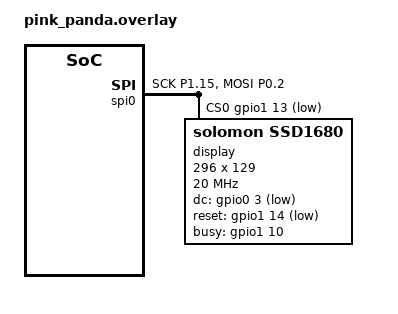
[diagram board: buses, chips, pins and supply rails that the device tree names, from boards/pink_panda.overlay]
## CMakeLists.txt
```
#-------------------------------------------------------------------------------
# Zephyr Example Application
#
# Copyright (c) 2022 François Gervais
# SPDX-License-Identifier: Apache-2.0

# set(OVERLAY_CONFIG "secret.conf")

cmake_minimum_required(VERSION 3.20.0)
list(APPEND BOARD_ROOT ${CMAKE_CURRENT_SOURCE_DIR})
find_package(Zephyr REQUIRED HINTS $ENV{ZEPHYR_BASE})

execute_process(COMMAND git describe
                WORKING_DIRECTORY ${CMAKE_CURRENT_SOURCE_DIR}
                OUTPUT_VARIABLE GIT_DESCRIBE
                ERROR_QUIET)
string(STRIP "${GIT_DESCRIBE}" GIT_DESCRIBE)
STRING(REGEX MATCH "[0-9]+\\.[0-9]+\\.[0-9]+"
       VERSION "${GIT_DESCRIBE}")

project(app LANGUAGES C VERSION ${VERSION})


configure_file(app_version.h.in ${CMAKE_BINARY_DIR}/app/include/app_version.h)
target_include_directories(app PRIVATE ${CMAKE_BINARY_DIR}/app/include src)

target_sources(app PRIVATE
        src/init.c
        src/main.c)

zephyr_include_directories(
 configuration/${BOARD}
 )
```

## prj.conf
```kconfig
CONFIG_APP_SUSPEND_CONSOLE=y
CONFIG_APP_WATCHDOG_TIMEOUT_SEC=300
CONFIG_APP_MAIN_LOOP_PERIOD_SEC=180
CONFIG_LV_Z_BITS_PER_PIXEL=1

CONFIG_SPI=y
CONFIG_SERIAL=y

CONFIG_WATCHDOG=y
CONFIG_HEAP_MEM_POOL_SIZE=2048

CONFIG_PM_DEVICE=y

CONFIG_MAIN_STACK_SIZE=4096
CONFIG_SYSTEM_WORKQUEUE_STACK_SIZE=2048
#CONFIG_LOG_BUFFER_SIZE=16384

CONFIG_CAF=y
CONFIG_CAF_BUTTONS=y
CONFIG_CAF_BUTTONS_POLARITY_INVERSED=y

CONFIG_LV_CONF_MINIMAL=y
CONFIG_LV_COLOR_DEPTH_1=y
CONFIG_LV_USE_LOG=y
CONFIG_LV_USE_ASSERT_NULL=y
CONFIG_LV_USE_ASSERT_MALLOC=y
# CONFIG_LV_FONT_UNSCII_8 is not set
CONFIG_LV_FONT_DEFAULT_MONTSERRAT_48=y
CONFIG_LV_TXT_ENC_UTF8=y
CONFIG_LV_USE_LABEL=y
CONFIG_LV_USE_THEME_MONO=y
CONFIG_LVGL=y

CONFIG_BOARD_ENABLE_DCDC=y

CONFIG_THREAD_NAME=y
CONFIG_EVENTS=y

CONFIG_CONSOLE=y
CONFIG_UART_CONSOLE=y
CONFIG_DISPLAY=y

CONFIG_THREAD_ANALYZER=y
CONFIG_LOG=y
CONFIG_LOG_SPEED=y
```

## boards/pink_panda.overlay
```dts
/ {
	/*
	* In some default configurations within the nRF Connect SDK,
	* e.g. on nRF52840, the chosen zephyr,entropy node is &cryptocell.
	* This devicetree overlay ensures that default is overridden wherever it
	* is set, as this application uses the RNG node for entropy exclusively.
	*/
	chosen {
		zephyr,entropy = &rng;
		zephyr,display = &display;
	};
};
&pinctrl {
	spi0_default: spi0_default {
		group1 {
			psels = <NRF_PSEL(SPIM_SCK, 1, 15)>,
				<NRF_PSEL(SPIM_MOSI, 0, 2)>;
		};
	};

	spi0_sleep: spi0_sleep {
		group1 {
			psels = <NRF_PSEL(SPIM_SCK, 1, 15)>,
				<NRF_PSEL(SPIM_MOSI, 0, 2)>;
			low-power-enable;
		};
	};
};
&adc {
	status = "disabled";
};
&uart1 {
	status = "disabled";
};
&pwm0 {
	status = "disabled";
};
&i2c0 {
	status = "disabled";
};
&spi0 {
	compatible = "nordic,nrf-spim";
	status = "okay";

	pinctrl-0 = <&spi0_default>;
	pinctrl-1 = <&spi0_sleep>;
	pinctrl-names = "default", "sleep";

	cs-gpios = <&gpio1 13 GPIO_ACTIVE_LOW>;

	display: ssd1680@0 {
		compatible = "solomon,ssd1680";

		// spi-max-frequency = <4000000>;
		spi-max-frequency = <20000000>;
		// duplex = <SPI_HALF_DUPLEX>;
		reg = <0>;

		dc-gpios = <&gpio0 3 GPIO_ACTIVE_LOW>;
		reset-gpios = <&gpio1 14 GPIO_ACTIVE_LOW>;
		busy-gpios = <&gpio1 10 GPIO_ACTIVE_HIGH>;

		orientation-flipped;

		/* Enable the built-in temperature sensor */
		tssv = <0x80>;

		width = <296>;
		// There might be a bug in the buffer size allocation where if we
		// use 128 some random is left at the beginning of the screen.
		height = <129>;

		full {
		};
	};
};
&spi1 {
	status = "disabled";
};
&spi2 {
	status = "disabled";
};
&spi3 {
	status = "disabled";
};
&qspi {
	status = "disabled";
};
&usbd {
	status = "disabled";
};
&gpio0 {
	status = "okay";
};
&gpio1 {
	status = "okay";
};
&gpiote {
    status = "okay";
};
&ieee802154 {
	status = "disabled";
};
```

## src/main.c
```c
#include <lvgl.h>
#include <zephyr/drivers/display.h>
#include <zephyr/drivers/gpio.h>
#include <zephyr/drivers/watchdog.h>
#include <zephyr/kernel.h>
#include <zephyr/pm/device.h>
#include <zephyr/debug/thread_analyzer.h>

#include <app_event_manager.h>

#define MODULE main
#include <caf/events/module_state_event.h>
#include <caf/events/button_event.h>

#include <zephyr/logging/log.h>
LOG_MODULE_REGISTER(main, LOG_LEVEL_DBG);

#include <app_version.h>

#include "init.h"


#define SCREEN_TOGGLE_EVENT		BIT(0)


static K_EVENT_DEFINE(screen_events);


int suspend_display(const struct device *display_dev,
		    const struct device *display_bus_dev)
{
	int ret;

	ret = pm_device_action_run(display_dev, PM_DEVICE_ACTION_SUSPEND);
	if (ret < 0) {
		LOG_ERR("Could not suspend the display");
		return ret;
	}

	ret = pm_device_action_run(display_bus_dev, PM_DEVICE_ACTION_SUSPEND);
	if (ret < 0) {
		LOG_ERR("Could not suspend the display bus");
		return ret;
	}

	return 0;
}

int resume_display(const struct device *display_dev,
		   const struct device *display_bus_dev)
{
	int ret;

	ret = pm_device_action_run(display_dev, PM_DEVICE_ACTION_RESUME);
	if (ret < 0) {
		LOG_ERR("Could not resume the display");
		return ret;
	}

	ret = pm_device_action_run(display_bus_dev, PM_DEVICE_ACTION_RESUME);
	if (ret < 0) {
		LOG_ERR("Could not resume the display bus");
		return ret;
	}

	return 0;
}

int main(void)
{
	const struct device *wdt = DEVICE_DT_GET(DT_NODELABEL(wdt0));
#if defined(CONFIG_APP_SUSPEND_CONSOLE)
	const struct device *cons = DEVICE_DT_GET(DT_CHOSEN(zephyr_console));
#endif
	const struct device *display_dev = DEVICE_DT_GET(DT_CHOSEN(zephyr_display));
	const struct device *display_bus_dev = DEVICE_DT_GET(
		DT_PARENT(DT_CHOSEN(zephyr_display)));

	lv_obj_t *label;
	uint32_t events;
	int main_wdt_chan_id = -1;
	int screen_text_pos = 0;
	const char *label_texts[] = {"Ready!", "Cleaning..."};
	k_timepoint_t screen_refresh_timepoint;


	init_watchdog(wdt, &main_wdt_chan_id);

	LOG_INF("\n\n🚀 MAIN START (%s) 🚀\n", APP_VERSION_FULL);

	if (app_event_manager_init()) {
		LOG_ERR("Event manager not initialized");
	} else {
		module_set_state(MODULE_STATE_READY);
	}

	label = lv_label_create(lv_scr_act());

	lv_label_set_text(label, label_texts[screen_text_pos]);
	lv_obj_align(label, LV_ALIGN_CENTER, 0, 10);

	// lv_obj_clean(lv_scr_act());

	lv_task_handler();
	screen_refresh_timepoint = sys_timepoint_calc(K_HOURS(12));

	suspend_display(display_dev, display_bus_dev);

	LOG_INF("🎉 init done 🎉");

#if defined(CONFIG_APP_SUSPEND_CONSOLE)
	k_sleep(K_SECONDS(3));
	pm_device_action_run(cons, PM_DEVICE_ACTION_SUSPEND);
#endif

	thread_analyzer_print();

	while (1) {
		LOG_INF("💤 waiting for events");
		events = k_event_wait(&screen_events,
				(SCREEN_TOGGLE_EVENT),
				true,
				K_SECONDS(CONFIG_APP_MAIN_LOOP_PERIOD_SEC));

		if (events & SCREEN_TOGGLE_EVENT) {
			resume_display(display_dev, display_bus_dev);

			screen_text_pos ^= 1;
			lv_label_set_text(label, label_texts[screen_text_pos]);
			lv_task_handler();
			screen_refresh_timepoint = sys_timepoint_calc(
							K_HOURS(12));

			suspend_display(display_dev, display_bus_dev);
		}
		else if (sys_timepoint_expired(screen_refresh_timepoint)) {
			resume_display(display_dev, display_bus_dev);

			LOG_INF("🖥️ screen saver refresh");
			lv_obj_invalidate(lv_scr_act());
			lv_task_handler();
			screen_refresh_timepoint = sys_timepoint_calc(
							K_HOURS(12));

			suspend_display(display_dev, display_bus_dev);
		}

		LOG_INF("🦴 feed watchdog");
		wdt_feed(wdt, main_wdt_chan_id);
	}

	return 0;
}

static bool event_handler(const struct app_event_header *eh)
{
	const struct button_event *evt;

	if (is_button_event(eh)) {
		evt = cast_button_event(eh);

		if (evt->pressed) {
			LOG_INF("🛎️  Button pressed");
			k_event_post(&screen_events, SCREEN_TOGGLE_EVENT);
		}
	}

	return true;
}

APP_EVENT_LISTENER(MODULE, event_handler);
APP_EVENT_SUBSCRIBE(MODULE, button_event);
```
